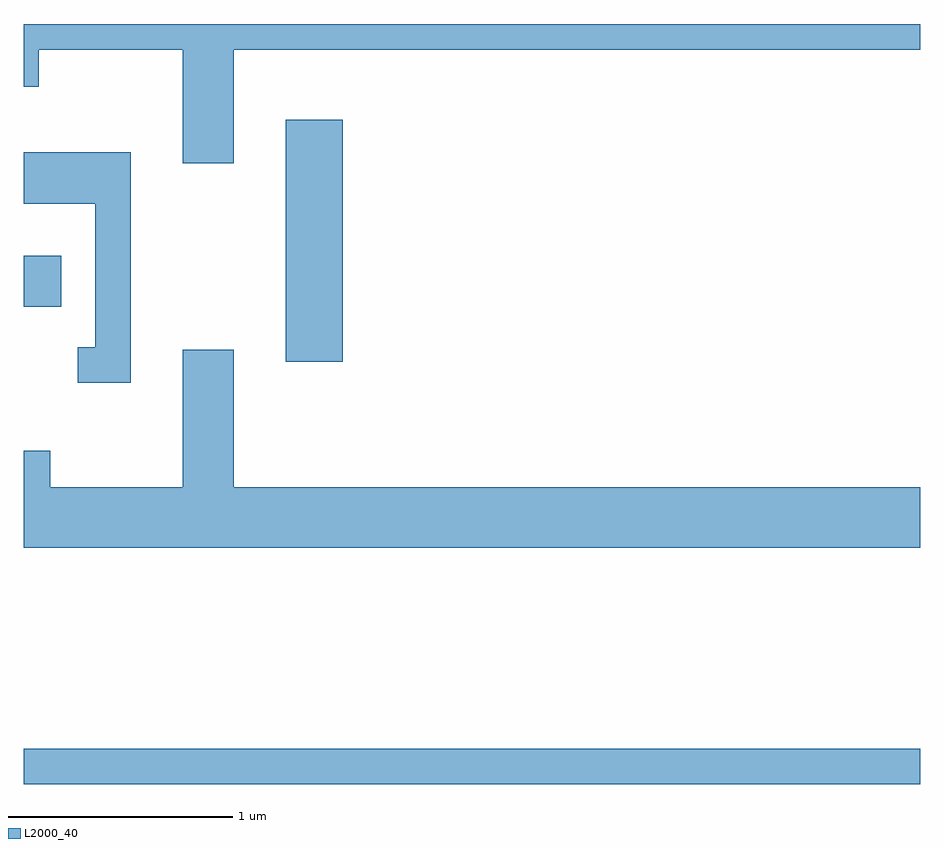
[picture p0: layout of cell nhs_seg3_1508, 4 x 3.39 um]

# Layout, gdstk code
import gdstk
lib = gdstk.Library(unit=1e-6, precision=1e-09)
def R(c, l, rs):  # rectangles x0, y0, x1, y1
    for r in rs: c.add(gdstk.rectangle(r[:2], r[2:], *l))
def P(c, l, *ps):  # polygons
    for p in ps: c.add(gdstk.Polygon(p, *l))
L2000_40 = (2000, 40)

nhs_seg3_1508 = lib.new_cell('nhs_seg3_1508')
R(nhs_seg3_1508, L2000_40, [(229.611,1140.501,233.611,1140.659), (230.781,1142.386,231.034,1143.464), (229.611,1142.631,229.779,1142.859)])
P(nhs_seg3_1508, L2000_40, [(230.549,1143.776),(233.611,1143.776),(233.611,1143.892),(229.611,1143.892),(229.611,1143.611),(229.679,1143.611),(229.679,1143.776),(230.321,1143.776),(230.321,1143.271),(230.549,1143.271)],
  [(230.089,1143.319),(229.611,1143.319),(229.611,1143.091),(229.931,1143.091),(229.931,1142.449),(229.853,1142.449),(229.853,1142.291),(230.089,1142.291)],
  [(233.611,1141.824),(230.549,1141.824),(230.549,1142.439),(230.321,1142.439),(230.321,1141.824),(229.729,1141.824),(229.729,1141.989),(229.611,1141.989),(229.611,1141.556),(233.611,1141.556)])

lib.write_gds('nhs_seg3_1508.gds')
